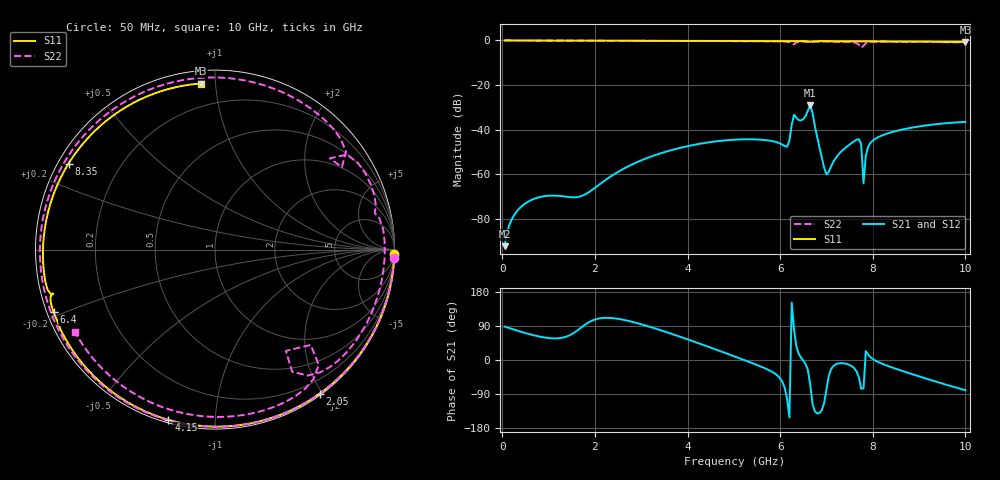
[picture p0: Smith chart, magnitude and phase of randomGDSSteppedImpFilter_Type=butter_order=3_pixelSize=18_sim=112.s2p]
! freq	dB(S11)	phase(S11)	dB(S12)	phase(S12)
!  dB(S21)	phase(S21)	dB(S22)	phase(S22)
!S-par simulation data
#  GHz  S  DB  R 50
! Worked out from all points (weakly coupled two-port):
!   200 points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, 50 MHz to 10 GHz, reference 50 ohm
!   highest |S21| = -28.90 dB at 6.65 GHz (marker M1); lowest = -92.1 dB at 50 MHz (marker M2)
!   lowest |S11| = -0.6 dB at 10 GHz (marker M3), VSWR 27.04, Z = 3.4 + j45.8 ohm
!   |S11| at or under -10 dB: nowhere
!   |S22| runs from -3.2 to 0.0 dB; largest |S21 - S12| = 0
!   S11 on the Smith chart (normalised r, x): 50 MHz: 1, -84; 2.05 GHz: 0.02, -1.96; 4.15 GHz: 0.01, -0.76; 6.4 GHz: 0.02, -0.19; 8.35 GHz: 0.03, +0.27; 10 GHz: 0.07, +0.92
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0.05  -0.00 -1.4  -92.13 88.2  -92.13 88.2  -0.00 -2.7
0.75  -0.03 -20.1  -70.48 63.2  -70.48 63.2  -0.05 -38.9
1.75  -0.06 -46.3  -69.34 89.9  -69.34 89.9  -0.11 -88.0
2.05  -0.07 -54.0  -65.23 108.5  -65.23 108.5  -0.12 -102.0
3.4  -0.12 -87.4  -50.66 79.3  -50.66 79.3  -0.19 -163.5
4.15  -0.15 -105.3  -46.71 48.1  -46.71 48.1  -0.24 160.7
5.05  -0.19 -126.4  -44.40 7.8  -44.40 7.8  -0.32 112.4
5.65  -0.23 -140.6  -44.56 -20.7  -44.56 -20.7  -0.39 75.8
6.15  -0.28 -152.7  -47.58 -103.1  -47.58 -103.1  -0.61 41.1
6.3  -0.32 -156.2  -33.26 79.9  -33.26 79.9  -1.75 38.4
6.4  -0.31 -158.7  -35.66 17.0  -35.66 17.0  -0.61 31.0
6.65  -0.60 -164.8  -28.90 -66.4  -28.90 -66.4  -0.79 12.9
6.7  -0.47 -164.8  -32.53 -116.1  -32.53 -116.1  -0.61 10.8
7  -0.35 -173.2  -59.95 -77.4  -59.95 -77.4  -0.49 -9.9
7.3  -0.37 178.9  -50.14 -8.5  -50.14 -8.5  -0.56 -29.1
7.7  -0.41 168.1  -44.20 -45.7  -44.20 -45.7  -1.88 -57.7
7.75  -0.42 166.8  -46.56 -75.8  -46.56 -75.8  -3.24 -55.0
7.8  -0.42 165.4  -63.97 -74.9  -63.97 -74.9  -2.47 -44.9
7.85  -0.43 164.0  -51.57 23.3  -51.57 23.3  -1.27 -48.0
7.9  -0.43 162.6  -47.61 14.1  -47.61 14.1  -0.85 -52.9
8.35  -0.48 149.6  -41.45 -16.8  -41.45 -16.8  -0.58 -80.3
10  -0.64 94.9  -36.46 -79.7  -36.46 -79.7  -0.87 -149.6
